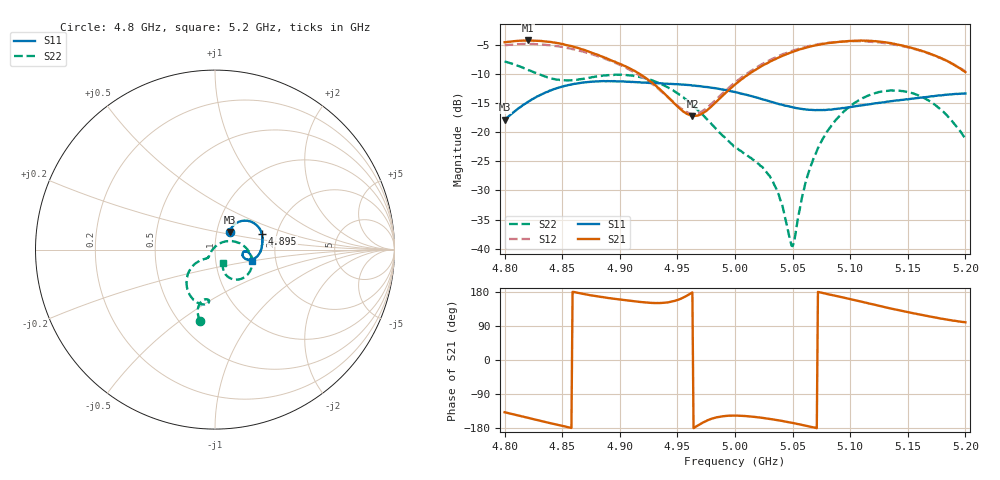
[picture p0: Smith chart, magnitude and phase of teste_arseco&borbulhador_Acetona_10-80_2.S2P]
! Network Analyzer HP8722D
! Hewlett-Packard
! Data name: Linha & Wilkinson
! Saver's name: Rodrigo Anjos
! Comments: Teste da utilização de aquisição
! continua pelo VNA HP8722D
! Time and date: 25/4/2025 15:17
!  Frequency  S11  S21  S12  S22
# HZ  S  MA R 50
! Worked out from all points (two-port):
!   401 points, 4.8 GHz to 5.2 GHz, reference 50 ohm
!   highest |S21| = -4.18 dB at 4.82 GHz (marker M1); lowest = -17.2 dB at 4.963 GHz (marker M2)
!   |S21| within 3 dB of the highest: start of sweep to 4.888 GHz; 5.037 GHz to 5.178 GHz (141.2 MHz wide, 2.76 % of centre)
!   lowest |S11| = -17.8 dB at 4.8 GHz (marker M3), VSWR 1.29, Z = 57.8 + j11.6 ohm
!   |S11| at or under -10 dB: start of sweep to end of sweep
!   |S22| runs from -39.6 to -7.8 dB; largest |S21 - S12| = 0.066
!   S11 on the Smith chart (normalised r, x): 4.8 GHz: 1.16, +0.23; 4.895 GHz: 1.67, +0.32; 5.2 GHz: 1.50, -0.21
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4.8e9  0.1285 49.9  0.5966 -137.8  0.5606 -134.0  0.407 -101.5
4.82e9  0.1822 51.7  0.6177 -152.2  0.5762 -148.1  0.3469 -106.1
4.842e9  0.2333 43.6  0.5938 -168.3  0.5565 -162.9  0.2895 -102.9
4.867e9  0.2674 31.4  0.5184 175.1  0.4969 -178.7  0.288 -96.5
4.895e9  0.2762 18.8  0.4083 161.6  0.4006 166.8  0.3119 -103.0
4.934e9  0.2643 6.2  0.2387 150.3  0.2348 156.9  0.2654 -125.6
4.963e9  0.2524 -2.3  0.1385 178.3  0.1444 -176.0  0.1719 -141.9
4.974e9  0.2464 -5.6  0.1507 -162.3  0.1582 -157.7  0.1351 -144.9
5e9  0.2222 -13.3  0.2573 -146.7  0.2691 -144.0  0.07538 -137.2
5.031e9  0.1839 -17.2  0.4097 -155.9  0.4232 -154.3  0.04057 -135.8
5.039e9  0.1743 -16.7  0.445 -159.9  0.4599 -158.6  0.02683 -147.2
5.048e9  0.1661 -15.3  0.4845 -164.9  0.4975 -164.1  0.01182 164.3
5.05e9  0.1644 -15.0  0.4925 -166.2  0.5047 -165.4  0.01049 132.9
5.052e9  0.1628 -14.4  0.499 -167.3  0.5117 -166.7  0.01249 103.3
5.06e9  0.158 -12.3  0.5298 -172.4  0.5388 -171.7  0.03276 61.3
5.067e9  0.1561 -10.3  0.5532 -176.9  0.5609 -176.3  0.05521 46.2
5.079e9  0.156 -6.9  0.5819 174.8  0.5867 175.5  0.09823 29.0
5.096e9  0.1626 -3.8  0.607 163.5  0.6048 164.0  0.1555 9.3
5.114e9  0.173 -3.4  0.6155 150.9  0.6049 151.8  0.2039 -10.0
5.134e9  0.1846 -4.4  0.5876 136.7  0.5788 138.4  0.2291 -30.5
5.168e9  0.2024 -9.4  0.4811 115.4  0.4776 117.4  0.1882 -60.2
5.2e9  0.216 -17.8  0.3299 99.5  0.3343 101.7  0.0892 -60.2
